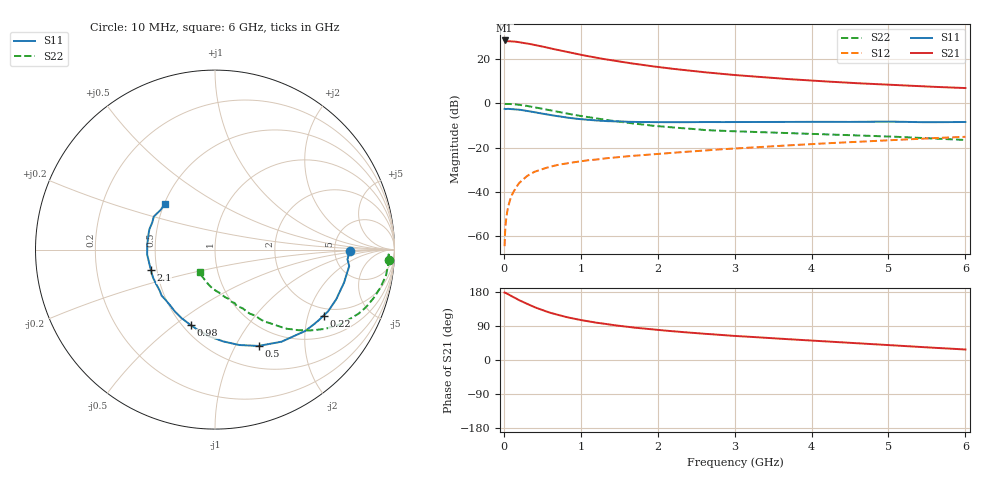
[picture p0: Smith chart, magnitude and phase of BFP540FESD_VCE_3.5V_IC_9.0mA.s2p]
! Infineon Technologies  Discrete & RF Semiconductors
! BFP540FESD
! VCE =  3.5 V,  IC =  9.0 mA
! Common Emitter S-Parameters:  Nov 2015
# GHz  S  MA  R  50
!  f  S11  S21  S12  S22
! GHz  MAG  ANG  MAG  ANG  MAG  ANG  MAG  ANG
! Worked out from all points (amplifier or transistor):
!   210 points, 10 MHz to 6 GHz, reference 50 ohm
!   highest |S21| = 28.4 dB at 10 MHz (marker M1)
!   |S21| within 3 dB of that: start of sweep to 534.6 MHz
!   unconditionally stable (mu >= 1): start of sweep to 12.27 MHz; 2.298 GHz to end of sweep
!   at 185 MHz: K = 0.18, MSG = 32.2 dB, |S12| = -36.7 dB
!   at 1.52 GHz: K = 0.80, MSG = 21.5 dB, |S12| = -24.2 dB
!   at 6 GHz: K = 1.23, MAG = 8.1 dB, |S12| = -15.1 dB
!   S11 on the Smith chart (normalised r, x): 10 MHz: 7.02, -0.21; 220 MHz: 1.71, -2.53; 500 MHz: 0.76, -1.25; 980 MHz: 0.55, -0.58; 2.1 GHz: 0.46, -0.12; 6 GHz: 0.50, +0.30
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0.01  0.7509 -0.5  26.17 178.0  0.0006 41.9  0.9727 -3.5
0.02  0.7401 -4.2  25.23 177.3  0.0016 67.2  0.9676 -1.6
0.05  0.7533 -7.0  25.3 174.2  0.0041 78.5  0.9702 -4.2
0.15  0.73 -22.3  24.65 163.3  0.0118 78.0  0.9464 -12.8
0.22  0.7081 -31.3  23.63 155.9  0.0172 73.7  0.9157 -18.3
0.3  0.6768 -42.1  22.51 148.0  0.0228 69.6  0.8754 -24.1
0.34  0.6559 -46.7  21.77 144.6  0.0251 67.9  0.8507 -26.6
0.4  0.6332 -54.1  20.81 139.2  0.0286 65.8  0.8167 -30.5
0.5  0.589 -65.7  19.16 131.5  0.0329 61.9  0.7542 -35.9
0.6  0.5483 -75.8  17.42 124.8  0.037 59.1  0.6962 -40.3
0.7  0.5138 -84.8  16.01 119.3  0.0408 57.2  0.6463 -44.0
0.8  0.4832 -94.4  14.68 113.9  0.0436 55.3  0.5967 -47.7
0.98  0.4422 -107.6  12.63 106.3  0.0486 53.5  0.5263 -52.1
1.02  0.4355 -110.5  12.24 104.8  0.0497 53.1  0.5126 -53.2
1.2  0.4112 -122.9  10.69 98.6  0.0538 51.9  0.4571 -57.3
1.46  0.3926 -136.9  8.989 91.2  0.0603 50.8  0.3937 -62.4
2.02  0.3761 -160.6  6.552 78.9  0.0728 49.5  0.3035 -72.5
2.1  0.3752 -162.5  6.303 77.6  0.0746 49.4  0.2946 -73.5
3.1  0.3784 174.4  4.216 62.4  0.0979 47.4  0.2309 -88.2
4.1  0.3821 161.6  3.178 50.1  0.123 44.4  0.2016 -99.0
5.1  0.3844 150.0  2.578 38.1  0.1501 39.0  0.1758 -109.6
6  0.379 137.5  2.21 27.7  0.1759 33.2  0.149 -123.0
